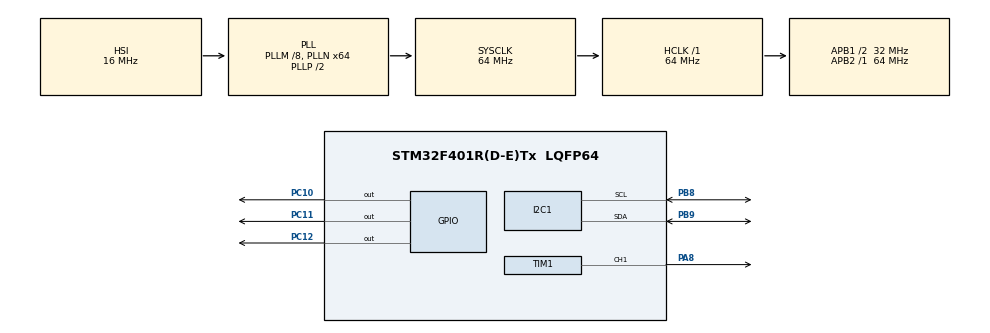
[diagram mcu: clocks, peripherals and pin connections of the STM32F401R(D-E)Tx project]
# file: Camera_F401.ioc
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FREERTOS.Tasks01=Camera_SCCB,0,256,cameraSCCB,Default,NULL,Dynamic,NULL,NULL
FREERTOS.configUSE_COUNTING_SEMAPHORES=1
FREERTOS.configUSE_RECURSIVE_MUTEXES=1
Mcu.Family=STM32F4
Mcu.Name=STM32F401R(D-E)Tx
Mcu.Package=LQFP64
NVIC.PriorityGroup=NVIC_PRIORITYGROUP_4
NVIC.TIM2_IRQn=true\:1\:0\:true\:false\:true\:false\:false\:true\:true
NVIC.TimeBase=TIM2_IRQn
NVIC.TimeBaseIP=TIM2
PA13.Mode=Serial_Wire
PA13.Signal=SYS_JTMS-SWDIO
PA14.Mode=Serial_Wire
PA14.Signal=SYS_JTCK-SWCLK
PA8.GPIO_ModeDefaultPP=GPIO_MODE_AF_PP
PA8.GPIO_PuPd=GPIO_PULLUP
PA8.GPIO_Speed=GPIO_SPEED_FREQ_VERY_HIGH
PA8.Signal=S_TIM1_CH1
PB8.GPIO_Pu=GPIO_PULLUP
PB8.Mode=I2C
PB8.Signal=I2C1_SCL
PB9.GPIO_Pu=GPIO_PULLUP
PB9.Mode=I2C
PB9.Signal=I2C1_SDA
PC10.Signal=GPIO_Output
PC11.GPIO_PuPd=GPIO_PULLDOWN
PC11.GPIO_Speed=GPIO_SPEED_FREQ_HIGH
PC11.Signal=GPIO_Output
PC12.GPIO_PuPd=GPIO_PULLDOWN
PC12.GPIO_Speed=GPIO_SPEED_FREQ_HIGH
PC12.Signal=GPIO_Output
ProjectManager.HeapSize=0x200
ProjectManager.StackSize=0x400
ProjectManager.TargetToolchain=STM32CubeIDE
RCC.48MHZClocksFreq_Value=32000000
RCC.AHBFreq_Value=64000000
RCC.APB1CLKDivider=RCC_HCLK_DIV2
RCC.APB1Freq_Value=32000000
RCC.APB1TimFreq_Value=64000000
RCC.APB2Freq_Value=64000000
RCC.APB2TimFreq_Value=64000000
RCC.CortexFreq_Value=64000000
RCC.HCLKFreq_Value=64000000
RCC.HSE_VALUE=25000000
RCC.HSI_VALUE=16000000
RCC.LSE_VALUE=32768
RCC.PLLM=8
RCC.PLLN=64
RCC.RCC_MCODiv2=RCC_MCODIV_4
RCC.SYSCLKFreq_VALUE=64000000
RCC.SYSCLKSource=RCC_SYSCLKSOURCE_PLLCLK
RCC.VCOOutputFreq_Value=128000000
SH.S_TIM1_CH1.0=TIM1_CH1,PWM Generation1 CH1
TIM1.AutoReloadPreload=TIM_AUTORELOAD_PRELOAD_ENABLE
TIM1.Channel-PWM\ Generation1\ CH1=TIM_CHANNEL_1
TIM1.Period=64
TIM1.Pulse-PWM\ Generation1\ CH1=32
TIM1.TIM_MasterOutputTrigger=TIM_TRGO_RESET
VP_FREERTOS_VS_CMSIS_V1.Mode=CMSIS_V1
VP_SYS_VS_tim2.Mode=TIM2
VP_TIM1_VS_ClockSourceINT.Mode=Internal
board=custom

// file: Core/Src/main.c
/* USER CODE BEGIN Header */
/**
  ******************************************************************************
  * @file           : main.c
  * @brief          : Main program body
  ******************************************************************************
  * @attention
  *
  * Copyright (c) 2023 STMicroelectronics.
  * All rights reserved.
  *
  * This software is licensed under terms that can be found in the LICENSE file
  * in the root directory of this software component.
  * If no LICENSE file comes with this software, it is provided AS-IS.
  *
  ******************************************************************************
  */
/* USER CODE END Header */
#include "main.h"
#include "cmsis_os.h"

/* USER CODE BEGIN PD */
#define CAMERA_ADDRESS_WRITE (0x60)
#define CAMERA_ADDRESS_READ (0x61)

/* USER CODE END PD */

I2C_HandleTypeDef hi2c1;

TIM_HandleTypeDef htim1;

osThreadId Camera_SCCBHandle;
/* USER CODE BEGIN PV */
const unsigned char OV2640_JPEG_INIT[][2] = { { 0xff, 0x00 }, { 0x2c, 0xff }, {
		0x2e, 0xdf }, { 0xff, 0x01 }, { 0x3c, 0x32 }, { 0x11, 0x00 }, { 0x09,
		0x02 }, { 0x04, 0x28 }, { 0x13, 0xe5 }, { 0x14, 0x48 }, { 0x2c, 0x0c },
		{ 0x33, 0x78 }, { 0x3a, 0x33 }, { 0x3b, 0xfB }, { 0x3e, 0x00 }, { 0x43,
				0x11 }, { 0x16, 0x10 }, { 0x39, 0x92 }, { 0x35, 0xda }, { 0x22,
				0x1a }, { 0x37, 0xc3 }, { 0x23, 0x00 }, { 0x34, 0xc0 }, { 0x36,
				0x1a }, { 0x06, 0x88 }, { 0x07, 0xc0 }, { 0x0d, 0x87 }, { 0x0e,
				0x41 }, { 0x4c, 0x00 }, { 0x48, 0x00 }, { 0x5B, 0x00 }, { 0x42,
				0x03 }, { 0x4a, 0x81 }, { 0x21, 0x99 }, { 0x24, 0x40 }, { 0x25,
				0x38 }, { 0x26, 0x82 }, { 0x5c, 0x00 }, { 0x63, 0x00 }, { 0x61,
				0x70 }, { 0x62, 0x80 }, { 0x7c, 0x05 }, { 0x20, 0x80 }, { 0x28,
				0x30 }, { 0x6c, 0x00 }, { 0x6d, 0x80 }, { 0x6e, 0x00 }, { 0x70,
				0x02 }, { 0x71, 0x94 }, { 0x73, 0xc1 }, { 0x12, 0x40 }, { 0x17,
				0x11 }, { 0x18, 0x43 }, { 0x19, 0x00 }, { 0x1a, 0x4b }, { 0x32,
				0x09 }, { 0x37, 0xc0 }, { 0x4f, 0x60 }, { 0x50, 0xa8 }, { 0x6d,
				0x00 }, { 0x3d, 0x38 }, { 0x46, 0x3f }, { 0x4f, 0x60 }, { 0x0c,
				0x3c }, { 0xff, 0x00 }, { 0xe5, 0x7f }, { 0xf9, 0xc0 }, { 0x41,
				0x24 }, { 0xe0, 0x14 }, { 0x76, 0xff }, { 0x33, 0xa0 }, { 0x42,
				0x20 }, { 0x43, 0x18 }, { 0x4c, 0x00 }, { 0x87, 0xd5 }, { 0x88,
				0x3f }, { 0xd7, 0x03 }, { 0xd9, 0x10 }, { 0xd3, 0x82 }, { 0xc8,
				0x08 }, { 0xc9, 0x80 }, { 0x7c, 0x00 }, { 0x7d, 0x00 }, { 0x7c,
				0x03 }, { 0x7d, 0x48 }, { 0x7d, 0x48 }, { 0x7c, 0x08 }, { 0x7d,
				0x20 }, { 0x7d, 0x10 }, { 0x7d, 0x0e }, { 0x90, 0x00 }, { 0x91,
				0x0e }, { 0x91, 0x1a }, { 0x91, 0x31 }, { 0x91, 0x5a }, { 0x91,
				0x69 }, { 0x91, 0x75 }, { 0x91, 0x7e }, { 0x91, 0x88 }, { 0x91,
				0x8f }, { 0x91, 0x96 }, { 0x91, 0xa3 }, { 0x91, 0xaf }, { 0x91,
				0xc4 }, { 0x91, 0xd7 }, { 0x91, 0xe8 }, { 0x91, 0x20 }, { 0x92,
				0x00 }, { 0x93, 0x06 }, { 0x93, 0xe3 }, { 0x93, 0x05 }, { 0x93,
				0x05 }, { 0x93, 0x00 }, { 0x93, 0x04 }, { 0x93, 0x00 }, { 0x93,
				0x00 }, { 0x93, 0x00 }, { 0x93, 0x00 }, { 0x93, 0x00 }, { 0x93,
				0x00 }, { 0x93, 0x00 }, { 0x96, 0x00 }, { 0x97, 0x08 }, { 0x97,
				0x19 }, { 0x97, 0x02 }, { 0x97, 0x0c }, { 0x97, 0x24 }, { 0x97,
				0x30 }, { 0x97, 0x28 }, { 0x97, 0x26 }, { 0x97, 0x02 }, { 0x97,
				0x98 }, { 0x97, 0x80 }, { 0x97, 0x00 }, { 0x97, 0x00 }, { 0xc3,
				0xed }, { 0xa4, 0x00 }, { 0xa8, 0x00 }, { 0xc5, 0x11 }, { 0xc6,
				0x51 }, { 0xbf, 0x80 }, { 0xc7, 0x10 }, { 0xb6, 0x66 }, { 0xb8,
				0xA5 }, { 0xb7, 0x64 }, { 0xb9, 0x7C }, { 0xb3, 0xaf }, { 0xb4,
				0x97 }, { 0xb5, 0xFF }, { 0xb0, 0xC5 }, { 0xb1, 0x94 }, { 0xb2,
				0x0f }, { 0xc4, 0x5c }, { 0xc0, 0x64 }, { 0xc1, 0x4B }, { 0x8c,
				0x00 }, { 0x86, 0x3D }, { 0x50, 0x00 }, { 0x51, 0xC8 }, { 0x52,
				0x96 }, { 0x53, 0x00 }, { 0x54, 0x00 }, { 0x55, 0x00 }, { 0x5a,
				0xC8 }, { 0x5b, 0x96 }, { 0x5c, 0x00 }, { 0xd3, 0x00 }, { 0xc3,
				0xed }, { 0x7f, 0x00 }, { 0xda, 0x00 }, { 0xe5, 0x1f }, { 0xe1,
				0x67 }, { 0xe0, 0x00 }, { 0xdd, 0x7f }, { 0x05, 0x00 }, { 0x12,
				0x40 }, { 0xd3, 0x04 }, { 0xc0, 0x16 }, { 0xC1, 0x12 }, { 0x8c,
				0x00 }, { 0x86, 0x3d }, { 0x50, 0x00 }, { 0x51, 0x2C }, { 0x52,
				0x24 }, { 0x53, 0x00 }, { 0x54, 0x00 }, { 0x55, 0x00 }, { 0x5A,
				0x2c }, { 0x5b, 0x24 }, { 0x5c, 0x00 }, { 0xff, 0xff }, };

const unsigned char OV2640_YUV422[][2] = { { 0xFF, 0x00 }, { 0x05, 0x00 }, {
		0xDA, 0x10 }, { 0xD7, 0x03 }, { 0xDF, 0x00 }, { 0x33, 0x80 }, { 0x3C,
		0x40 }, { 0xe1, 0x77 }, { 0x00, 0x00 }, { 0xff, 0xff }, };

const unsigned char OV2640_JPEG[][2] = { { 0xe0, 0x14 }, { 0xe1, 0x77 }, { 0xe5,
		0x1f }, { 0xd7, 0x03 }, { 0xda, 0x10 }, { 0xe0, 0x00 }, { 0xFF, 0x01 },
		{ 0x04, 0x08 }, { 0xff, 0xff }, };

const unsigned char OV2640_160x120_JPEG[][2] = { { 0xFF, 0x01 }, { 0x12, 0x40 },
		{ 0x17, 0x11 }, { 0x18, 0x43 }, { 0x19, 0x00 }, { 0x1a, 0x4b }, { 0x32,
				0x09 }, { 0x4f, 0xca }, { 0x50, 0xa8 }, { 0x5a, 0x23 }, { 0x6d,
				0x00 }, { 0x39, 0x12 }, { 0x35, 0xda }, { 0x22, 0x1a }, { 0x37,
				0xc3 }, { 0x23, 0x00 }, { 0x34, 0xc0 }, { 0x36, 0x1a }, { 0x06,
				0x88 }, { 0x07, 0xc0 }, { 0x0d, 0x87 }, { 0x0e, 0x41 }, { 0x4c,
				0x00 }, { 0xFF, 0x00 }, { 0xe0, 0x04 }, { 0xc0, 0x64 }, { 0xc1,
				0x4b }, { 0x86, 0x35 }, { 0x50, 0x92 }, { 0x51, 0xc8 }, { 0x52,
				0x96 }, { 0x53, 0x00 }, { 0x54, 0x00 }, { 0x55, 0x00 }, { 0x57,
				0x00 }, { 0x5a, 0x2c }, { 0x5b, 0x24 }, { 0x5c, 0x00 }, { 0xe0,
				0x00 }, { 0xff, 0xff } };

/* USER CODE END PV */

void SystemClock_Config(void);
static void MX_GPIO_Init(void);
static void MX_I2C1_Init(void);
static void MX_TIM1_Init(void);
void cameraSCCB(void const * argument);

/* USER CODE BEGIN PFP */
void OV2640_ResolutionConfiguration(short opt) {

	uint8_t data_to_send = 0;
	OV2640_Configuration(OV2640_JPEG_INIT);
	OV2640_Configuration(OV2640_YUV422);
	OV2640_Configuration(OV2640_JPEG);
	HAL_Delay(10);
	//SCCB_Write(0xff, 0x01);
	data_to_send = 0x01;
	HAL_I2C_Mem_Write(&hi2c1, CAMERA_ADDRESS_WRITE, 0xFF, 1, &data_to_send, 1, 1000);
	HAL_Delay(10);
	//SCCB_Write(0x15, 0x00);
	data_to_send = 0x00;
	HAL_I2C_Mem_Write(&hi2c1, CAMERA_ADDRESS_WRITE, 0x15, 1, &data_to_send, 1, 1000);

	switch (opt) {
	case 0:
		OV2640_Configuration(OV2640_160x120_JPEG);
		break;
	}

}

void OV2640_Configuration(const unsigned char arr[][2]) {
	uint16_t i = 0;
	uint8_t reg_addr, data, data_read;
	uint8_t data_to_send = 0;
	while (1) {
		reg_addr = arr[i][0];
		data = arr[i][1];
		if (reg_addr == 0xff && data == 0xff) {
			break;
		}
		HAL_StatusTypeDef result = 4;
		HAL_I2C_DeInit(&hi2c1);
		HAL_Delay(20);
		HAL_I2C_Init(&hi2c1);
		HAL_Delay(25);
		//SCCB_Read(reg_addr, &data_read);
//		data_to_send = reg_addr;
//		__disable_irq();
//		HAL_I2C_Master_Transmit(&hi2c1, CAMERA_ADDRESS_WRITE, &data_to_send, 1, 1000);
//		HAL_I2C_Master_Receive(&hi2c1, CAMERA_ADDRESS_READ, &data_read, 1, 1000);
//		__enable_irq();
//		HAL_Delay(10);
		//SCCB_Write(reg_addr, data);
		//data_to_send = data;
		//__disable_irq();
		//HAL_I2C_Mem_Write(&hi2c1, CAMERA_ADDRESS_WRITE, reg_addr, 1, &data_to_send, 1, 1000);
		uint8_t data_to_send2[] = {reg_addr,  data};
		result = 4;
		do{
			result = HAL_I2C_Master_Transmit(&hi2c1, CAMERA_ADDRESS_WRITE, &data_to_send2, 2, 1000);
			if(result != HAL_OK){
				HAL_I2C_DeInit(&hi2c1);
				HAL_Delay(40);
				HAL_I2C_Init(&hi2c1);
				HAL_Delay(40);
			}
		} while(result != HAL_OK);
		//__enable_irq();
		HAL_Delay(100);
		//SCCB_Read(reg_addr, &data_read);
		data_to_send = reg_addr;
		result = 4;
		//__disable_irq();
		do{
			result = HAL_I2C_Master_Transmit(&hi2c1, CAMERA_ADDRESS_WRITE, &data_to_send, 1, 1000);
			if(result != HAL_OK){
				HAL_I2C_DeInit(&hi2c1);
				HAL_Delay(40);
				HAL_I2C_Init(&hi2c1);
				HAL_Delay(40);
			}
		}while(result != HAL_OK);
		result = 4;
		do{
			result = HAL_I2C_Master_Receive(&hi2c1, CAMERA_ADDRESS_READ, &data_read, 1, 1000);
			if(result != HAL_OK){
				HAL_I2C_DeInit(&hi2c1);
				HAL_Delay(40);
				HAL_I2C_Init(&hi2c1);
				HAL_Delay(40);
			}
		}while(result != HAL_OK);
		//__enable_irq();
		HAL_Delay(10);
		if (data != data_read) {
			continue;
		}
		i++;
	}
}
/* USER CODE END PFP */

int main(void)
{

  /* MCU Configuration--------------------------------------------------------*/

  /* Reset of all peripherals, Initializes the Flash interface and the Systick. */
  HAL_Init();

  /* Configure the system clock */
  SystemClock_Config();

  /* Initialize all configured peripherals */
  MX_GPIO_Init();
  MX_I2C1_Init();
  MX_TIM1_Init();
  /* USER CODE BEGIN 2 */

	uint8_t data_to_send = 0;

	// Hardware reset
	HAL_GPIO_WritePin(GPIOC, GPIO_PIN_10, GPIO_PIN_RESET);
	HAL_Delay(100);
	HAL_GPIO_WritePin(GPIOC, GPIO_PIN_10, GPIO_PIN_SET);
	HAL_Delay(100);
	// Software reset: reset all registers to default values
//	SCCB_Write(0xff, 0x01);
	data_to_send = 0x1;
	HAL_I2C_Mem_Write(&hi2c1, CAMERA_ADDRESS_WRITE, 0xFF, 1, &data_to_send, 1, 1000);
	data_to_send = 0x80;
	HAL_I2C_Mem_Write(&hi2c1, CAMERA_ADDRESS_WRITE, 0x12, 1, &data_to_send, 1, 1000);
//	SCCB_Write(0x12, 0x80);
	HAL_Delay(100);

	data_to_send = 1;
	HAL_I2C_Mem_Write(&hi2c1, CAMERA_ADDRESS_WRITE, 0xFF, 1, &data_to_send, 1, 1000);

	data_to_send = 0x1D; //Manufacturer ID Byte – Low
	HAL_I2C_Master_Transmit(&hi2c1, CAMERA_ADDRESS_WRITE, &data_to_send, 1, 1000);
	uint8_t read_data = 0;
	HAL_I2C_Master_Receive(&hi2c1, CAMERA_ADDRESS_READ, &read_data, 1, 1000);

	HAL_Delay(10);
	OV2640_ResolutionConfiguration(0);
	HAL_Delay(10);
//	HAL_GPIO_WritePin(GPIOC, GPIO_PIN_11, GPIO_PIN_SET);
//	vTaskDelay(1);
//	HAL_GPIO_WritePin(GPIOC, GPIO_PIN_11, GPIO_PIN_RESET);
//	vTaskDelay(1);
//	HAL_GPIO_WritePin(GPIOC, GPIO_PIN_12, GPIO_PIN_SET);
//	vTaskDelay(500);
//	HAL_GPIO_WritePin(GPIOC, GPIO_PIN_12, GPIO_PIN_RESET);

//	GPIOC->ODR |= GPIO_ODR_OD11;
//	HAL_Delay(1);
//	GPIOC->ODR &= ~GPIO_ODR_OD11;
//	HAL_Delay(1);
//	GPIOC->ODR |= GPIO_ODR_OD12;
//	HAL_Delay(500);
//	GPIOC->ODR &= ~GPIO_ODR_OD12;
//	HAL_Delay(1);

	  HAL_TIM_PWM_Start(&htim1, TIM_CHANNEL_1);
  /* USER CODE END 2 */

  /* Create the thread(s) */
  /* definition and creation of Camera_SCCB */
  osThreadDef(Camera_SCCB, cameraSCCB, osPriorityNormal, 0, 256);
  Camera_SCCBHandle = osThreadCreate(osThread(Camera_SCCB), NULL);

  /* Start scheduler */
  osKernelStart();
  /* We should never get here as control is now taken by the scheduler */
  /* Infinite loop */
  while (1)
  {

  }
}

void SystemClock_Config(void)
{
  RCC_OscInitTypeDef RCC_OscInitStruct = {0};
  RCC_ClkInitTypeDef RCC_ClkInitStruct = {0};

  /** Configure the main internal regulator output voltage
  */
  __HAL_RCC_PWR_CLK_ENABLE();
  __HAL_PWR_VOLTAGESCALING_CONFIG(PWR_REGULATOR_VOLTAGE_SCALE2);

  /** Initializes the RCC Oscillators according to the specified parameters
  * in the RCC_OscInitTypeDef structure.
  */
  RCC_OscInitStruct.OscillatorType = RCC_OSCILLATORTYPE_HSI;
  RCC_OscInitStruct.HSIState = RCC_HSI_ON;
  RCC_OscInitStruct.HSICalibrationValue = RCC_HSICALIBRATION_DEFAULT;
  RCC_OscInitStruct.PLL.PLLState = RCC_PLL_ON;
  RCC_OscInitStruct.PLL.PLLSource = RCC_PLLSOURCE_HSI;
  RCC_OscInitStruct.PLL.PLLM = 8;
  RCC_OscInitStruct.PLL.PLLN = 64;
  RCC_OscInitStruct.PLL.PLLP = RCC_PLLP_DIV2;
  RCC_OscInitStruct.PLL.PLLQ = 4;
  if (HAL_RCC_OscConfig(&RCC_OscInitStruct) != HAL_OK)
  {
    Error_Handler();
  }

  /** Initializes the CPU, AHB and APB buses clocks
  */
  RCC_ClkInitStruct.ClockType = RCC_CLOCKTYPE_HCLK|RCC_CLOCKTYPE_SYSCLK
                              |RCC_CLOCKTYPE_PCLK1|RCC_CLOCKTYPE_PCLK2;
  RCC_ClkInitStruct.SYSCLKSource = RCC_SYSCLKSOURCE_PLLCLK;
  RCC_ClkInitStruct.AHBCLKDivider = RCC_SYSCLK_DIV1;
  RCC_ClkInitStruct.APB1CLKDivider = RCC_HCLK_DIV2;
  RCC_ClkInitStruct.APB2CLKDivider = RCC_HCLK_DIV1;

  if (HAL_RCC_ClockConfig(&RCC_ClkInitStruct, FLASH_LATENCY_2) != HAL_OK)
  {
    Error_Handler();
  }
}

static void MX_I2C1_Init(void)
{

  hi2c1.Instance = I2C1;
  hi2c1.Init.ClockSpeed = 100000;
  hi2c1.Init.DutyCycle = I2C_DUTYCYCLE_2;
  hi2c1.Init.OwnAddress1 = 0;
  hi2c1.Init.AddressingMode = I2C_ADDRESSINGMODE_7BIT;
  hi2c1.Init.DualAddressMode = I2C_DUALADDRESS_DISABLE;
  hi2c1.Init.OwnAddress2 = 0;
  hi2c1.Init.GeneralCallMode = I2C_GENERALCALL_DISABLE;
  hi2c1.Init.NoStretchMode = I2C_NOSTRETCH_DISABLE;
  if (HAL_I2C_Init(&hi2c1) != HAL_OK)
  {
    Error_Handler();
  }

}

static void MX_TIM1_Init(void)
{

  TIM_ClockConfigTypeDef sClockSourceConfig = {0};
  TIM_MasterConfigTypeDef sMasterConfig = {0};
  TIM_OC_InitTypeDef sConfigOC = {0};
  TIM_BreakDeadTimeConfigTypeDef sBreakDeadTimeConfig = {0};

  htim1.Instance = TIM1;
  htim1.Init.Prescaler = 0;
  htim1.Init.CounterMode = TIM_COUNTERMODE_UP;
  htim1.Init.Period = 64;
  htim1.Init.ClockDivision = TIM_CLOCKDIVISION_DIV1;
  htim1.Init.RepetitionCounter = 0;
  htim1.Init.AutoReloadPreload = TIM_AUTORELOAD_PRELOAD_ENABLE;
  if (HAL_TIM_Base_Init(&htim1) != HAL_OK)
  {
    Error_Handler();
  }
  sClockSourceConfig.ClockSource = TIM_CLOCKSOURCE_INTERNAL;
  if (HAL_TIM_ConfigClockSource(&htim1, &sClockSourceConfig) != HAL_OK)
  {
    Error_Handler();
  }
  if (HAL_TIM_PWM_Init(&htim1) != HAL_OK)
  {
    Error_Handler();
  }
  sMasterConfig.MasterOutputTrigger = TIM_TRGO_RESET;
  sMasterConfig.MasterSlaveMode = TIM_MASTERSLAVEMODE_DISABLE;
  if (HAL_TIMEx_MasterConfigSynchronization(&htim1, &sMasterConfig) != HAL_OK)
  {
    Error_Handler();
  }
  sConfigOC.OCMode = TIM_OCMODE_PWM1;
  sConfigOC.Pulse = 32;
  sConfigOC.OCPolarity = TIM_OCPOLARITY_HIGH;
  sConfigOC.OCNPolarity = TIM_OCNPOLARITY_HIGH;
  sConfigOC.OCFastMode = TIM_OCFAST_DISABLE;
  sConfigOC.OCIdleState = TIM_OCIDLESTATE_RESET;
  sConfigOC.OCNIdleState = TIM_OCNIDLESTATE_RESET;
  if (HAL_TIM_PWM_ConfigChannel(&htim1, &sConfigOC, TIM_CHANNEL_1) != HAL_OK)
  {
    Error_Handler();
  }
  sBreakDeadTimeConfig.OffStateRunMode = TIM_OSSR_DISABLE;
  sBreakDeadTimeConfig.OffStateIDLEMode = TIM_OSSI_DISABLE;
  sBreakDeadTimeConfig.LockLevel = TIM_LOCKLEVEL_OFF;
  sBreakDeadTimeConfig.DeadTime = 0;
  sBreakDeadTimeConfig.BreakState = TIM_BREAK_DISABLE;
  sBreakDeadTimeConfig.BreakPolarity = TIM_BREAKPOLARITY_HIGH;
  sBreakDeadTimeConfig.AutomaticOutput = TIM_AUTOMATICOUTPUT_DISABLE;
  if (HAL_TIMEx_ConfigBreakDeadTime(&htim1, &sBreakDeadTimeConfig) != HAL_OK)
  {
    Error_Handler();
  }
  HAL_TIM_MspPostInit(&htim1);

}

static void MX_GPIO_Init(void)
{
  GPIO_InitTypeDef GPIO_InitStruct = {0};

  /* GPIO Ports Clock Enable */
  __HAL_RCC_GPIOA_CLK_ENABLE();
  __HAL_RCC_GPIOC_CLK_ENABLE();
  __HAL_RCC_GPIOB_CLK_ENABLE();

  /*Configure GPIO pin Output Level */
  HAL_GPIO_WritePin(GPIOC, GPIO_PIN_10|GPIO_PIN_11|GPIO_PIN_12, GPIO_PIN_RESET);

  /*Configure GPIO pin : PC10 */
  GPIO_InitStruct.Pin = GPIO_PIN_10;
  GPIO_InitStruct.Mode = GPIO_MODE_OUTPUT_PP;
  GPIO_InitStruct.Pull = GPIO_NOPULL;
  GPIO_InitStruct.Speed = GPIO_SPEED_FREQ_LOW;
  HAL_GPIO_Init(GPIOC, &GPIO_InitStruct);

  /*Configure GPIO pins : PC11 PC12 */
  GPIO_InitStruct.Pin = GPIO_PIN_11|GPIO_PIN_12;
  GPIO_InitStruct.Mode = GPIO_MODE_OUTPUT_PP;
  GPIO_InitStruct.Pull = GPIO_PULLDOWN;
  GPIO_InitStruct.Speed = GPIO_SPEED_FREQ_HIGH;
  HAL_GPIO_Init(GPIOC, &GPIO_InitStruct);

}

void cameraSCCB(void const * argument)
{
  for(;;)
  {
    osDelay(1);
  }
}

void HAL_TIM_PeriodElapsedCallback(TIM_HandleTypeDef *htim)
{
  if (htim->Instance == TIM2) {
    HAL_IncTick();
  }
}

void Error_Handler(void)
{
  __disable_irq();
  while (1)
  {
  }
}
